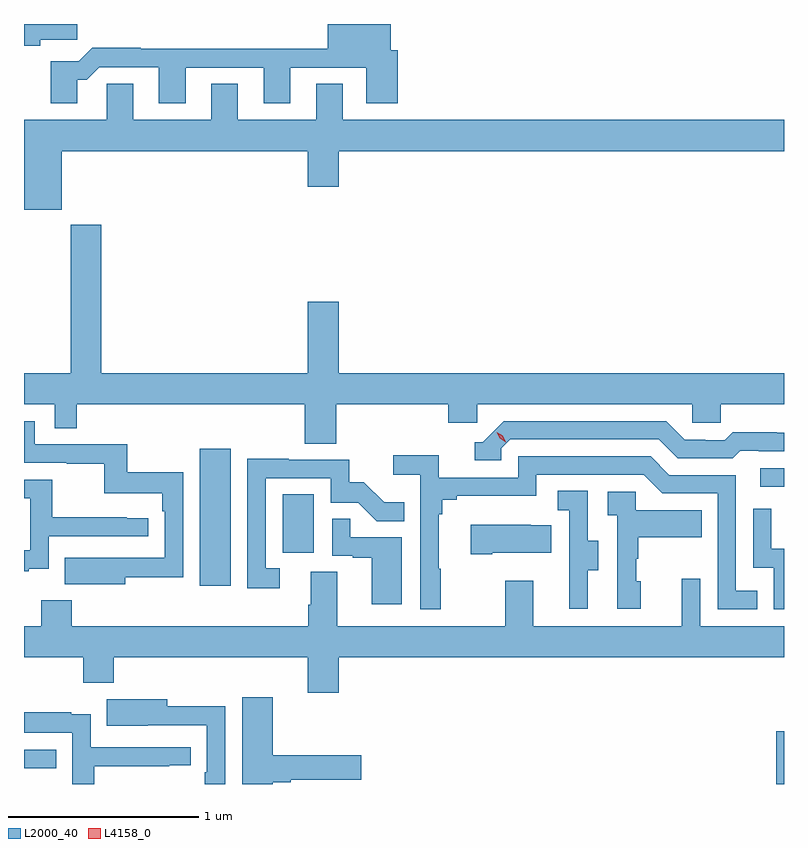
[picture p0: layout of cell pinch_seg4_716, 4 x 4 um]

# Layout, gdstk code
import gdstk
lib = gdstk.Library(unit=1e-6, precision=1e-09)
def R(c, l, rs):  # rectangles x0, y0, x1, y1
    for r in rs: c.add(gdstk.rectangle(r[:2], r[2:], *l))
def P(c, l, *ps):  # polygons
    for p in ps: c.add(gdstk.Polygon(p, *l))
L2000_40 = (2000, 40)
L4158_0 = (4158, 0)

pinch_seg4_716 = lib.new_cell('pinch_seg4_716')
R(pinch_seg4_716, L2000_40, [(838.802,818.797,838.843,819.075), (834.843,818.88,835.013,818.976), (835.769,819.84,835.93,820.561), (836.204,820.014,836.368,820.321), (838.719,820.362,838.843,820.458)])
P(pinch_seg4_716, L2000_40, [(835.123,822.503),(835.172,822.503),(835.239,822.57),(835.553,822.57),(835.553,822.381),(835.693,822.381),(835.693,822.567),(836.105,822.567),(836.105,822.381),(836.245,822.381),(836.245,822.567),(836.645,822.567),(836.645,822.381),(836.81,822.381),(836.81,822.66),(836.773,822.66),(836.773,822.797),(836.441,822.797),(836.441,822.668),(835.457,822.668),(835.457,822.671),(835.202,822.671),(835.132,822.601),(834.983,822.601),(834.983,822.381),(835.123,822.381)],
  [(834.928,822.715),(835.123,822.715),(835.123,822.797),(834.843,822.797),(834.843,822.683),(834.928,822.683)],
  [(835.042,822.128),(836.336,822.128),(836.336,821.94),(836.5,821.94),(836.5,822.128),(838.843,822.128),(838.843,822.292),(836.521,822.292),(836.521,822.482),(836.381,822.482),(836.381,822.292),(835.969,822.292),(835.969,822.482),(835.829,822.482),(835.829,822.292),(835.417,822.292),(835.417,822.482),(835.278,822.482),(835.278,822.292),(834.843,822.292),(834.843,821.819),(835.042,821.819)],
  [(836.486,820.796),(837.077,820.796),(837.077,820.698),(837.228,820.698),(837.228,820.796),(838.359,820.796),(838.359,820.698),(838.509,820.698),(838.509,820.796),(838.843,820.796),(838.843,820.96),(836.5,820.96),(836.5,821.335),(836.336,821.335),(836.336,820.96),(835.25,820.96),(835.25,821.74),(835.09,821.74),(835.09,820.96),(834.843,820.96),(834.843,820.796),(835.005,820.796),(835.005,820.669),(835.121,820.669),(835.121,820.796),(836.321,820.796),(836.321,820.588),(836.486,820.588)],
  [(837.354,820.563),(837.402,820.611),(838.185,820.611),(838.284,820.512),(838.573,820.512),(838.612,820.551),(838.711,820.551),(838.711,820.548),(838.843,820.548),(838.843,820.645),(838.806,820.645),(838.806,820.648),(838.573,820.648),(838.531,820.605),(838.428,820.605),(838.428,820.608),(838.321,820.608),(838.222,820.707),(837.369,820.707),(837.258,820.596),(837.215,820.596),(837.215,820.5),(837.354,820.5)],
  [(835.375,819.886),(835.68,819.886),(835.68,820.438),(835.387,820.438),(835.387,820.584),(834.9,820.584),(834.9,820.707),(834.843,820.707),(834.843,820.488),(835.069,820.488),(835.069,820.483),(835.266,820.483),(835.266,820.328),(835.571,820.328),(835.571,820.232),(835.584,820.232),(835.584,819.987),(835.271,819.987),(835.271,819.988),(835.057,819.988),(835.057,819.848),(835.375,819.848)],
  [(837.037,819.929),(837.025,819.929),(837.025,820.217),(837.044,820.217),(837.044,820.294),(837.121,820.294),(837.121,820.313),(837.54,820.313),(837.54,820.425),(838.104,820.425),(838.203,820.326),(838.494,820.326),(838.494,819.717),(838.703,819.717),(838.703,819.813),(838.59,819.813),(838.59,820.422),(838.24,820.422),(838.141,820.521),(837.444,820.521),(837.444,820.41),(837.026,820.41),(837.026,820.526),(836.787,820.526),(836.787,820.424),(836.928,820.424),(836.928,819.717),(837.037,819.717)],
  [(836.188,819.933),(836.115,819.933),(836.115,820.407),(836.457,820.407),(836.457,820.278),(836.601,820.278),(836.699,820.18),(836.843,820.18),(836.843,820.279),(836.739,820.279),(836.632,820.386),(836.556,820.386),(836.556,820.503),(836.237,820.503),(836.237,820.508),(836.019,820.508),(836.019,819.828),(836.188,819.828)],
  [(834.869,819.929),(834.972,819.929),(834.972,820.101),(835.498,820.101),(835.498,820.197),(835.385,820.197),(835.385,820.202),(834.992,820.202),(834.992,820.398),(834.843,820.398),(834.843,820.302),(834.876,820.302),(834.876,820.026),(834.843,820.026),(834.843,819.918),(834.869,819.918)],
  [(837.811,819.922),(837.865,819.922),(837.865,820.077),(837.81,820.077),(837.81,820.34),(837.651,820.34),(837.651,820.237),(837.714,820.237),(837.714,819.933),(837.713,819.933),(837.713,819.72),(837.811,819.72)],
  [(838.09,819.864),(838.065,819.864),(838.065,819.983),(838.075,819.983),(838.075,820.097),(838.409,820.097),(838.409,820.237),(838.062,820.237),(838.062,820.335),(837.915,820.335),(837.915,820.211),(837.966,820.211),(837.966,819.72),(838.09,819.72)],
  [(838.843,820.034),(838.776,820.034),(838.776,820.246),(838.68,820.246),(838.68,819.936),(838.788,819.936),(838.788,819.717),(838.843,819.717)],
  [(836.83,820.095),(836.561,820.095),(836.561,820.193),(836.466,820.193),(836.466,819.999),(836.573,819.999),(836.573,819.987),(836.672,819.987),(836.672,819.744),(836.83,819.744)],
  [(837.307,820.013),(837.617,820.013),(837.617,820.159),(837.509,820.159),(837.509,820.162),(837.195,820.162),(837.195,820.006),(837.307,820.006)],
  [(836.351,819.914),(836.351,819.74),(836.339,819.74),(836.339,819.628),(835.094,819.628),(835.094,819.763),(834.934,819.763),(834.934,819.628),(834.843,819.628),(834.843,819.464),(835.156,819.464),(835.156,819.329),(835.316,819.329),(835.316,819.464),(836.336,819.464),(836.336,819.276),(836.5,819.276),(836.5,819.464),(838.843,819.464),(838.843,819.628),(838.401,819.628),(838.401,819.877),(838.304,819.877),(838.304,819.628),(837.523,819.628),(837.523,819.868),(837.376,819.868),(837.376,819.628),(836.491,819.628),(836.491,819.914)],
  [(836.152,818.807),(836.248,818.807),(836.248,818.819),(836.617,818.819),(836.617,818.949),(836.152,818.949),(836.152,819.253),(835.991,819.253),(835.991,818.797),(836.152,818.797)],
  [(835.902,819.206),(835.597,819.206),(835.597,819.244),(835.279,819.244),(835.279,819.104),(835.493,819.104),(835.493,819.105),(835.806,819.105),(835.806,818.86),(835.793,818.86),(835.793,818.797),(835.902,818.797)],
  [(835.214,818.89),(835.607,818.89),(835.607,818.895),(835.72,818.895),(835.72,818.991),(835.194,818.991),(835.194,819.163),(835.091,819.163),(835.091,819.175),(834.843,819.175),(834.843,819.066),(835.098,819.066),(835.098,818.797),(835.214,818.797)])
P(pinch_seg4_716, L4158_0, [(837.378,820.597),(837.347,820.616),(837.331,820.649),(837.331,820.649),(837.331,820.649),(837.362,820.63),(837.378,820.597),(837.378,820.597)])

lib.write_gds('pinch_seg4_716.gds')
